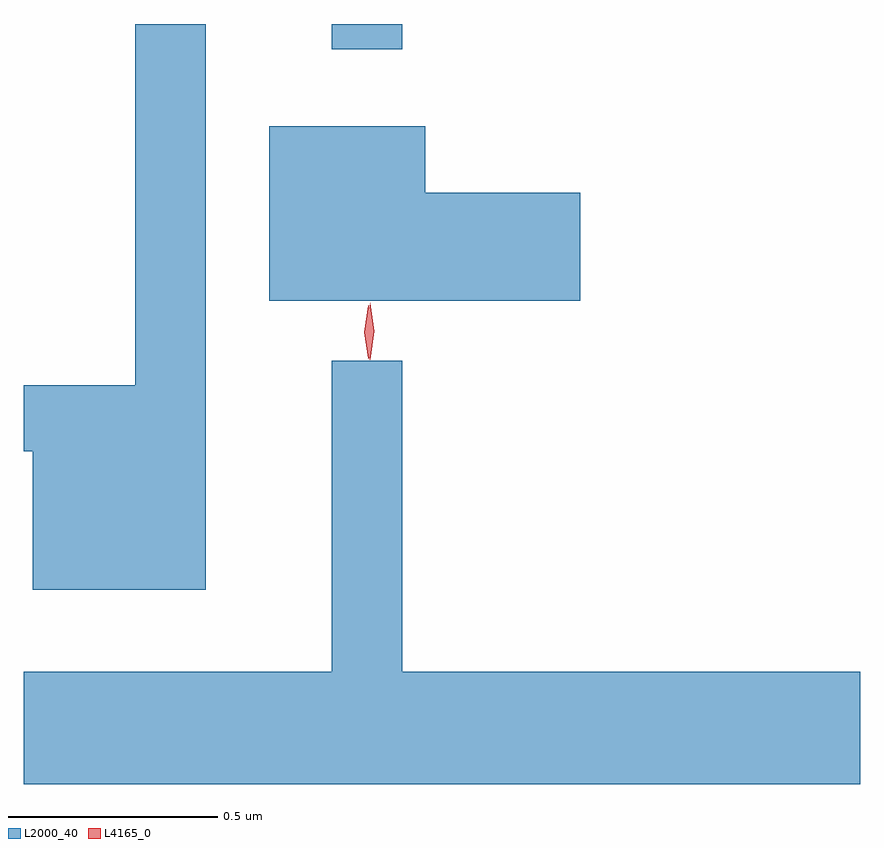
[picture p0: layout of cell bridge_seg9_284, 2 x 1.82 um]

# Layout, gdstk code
import gdstk
lib = gdstk.Library(unit=1e-6, precision=1e-09)
def R(c, l, rs):  # rectangles x0, y0, x1, y1
    for r in rs: c.add(gdstk.rectangle(r[:2], r[2:], *l))
def P(c, l, *ps):  # polygons
    for p in ps: c.add(gdstk.Polygon(p, *l))
L2000_40 = (2000, 40)
L4165_0 = (4165, 0)

bridge_seg9_284 = lib.new_cell('bridge_seg9_284')
R(bridge_seg9_284, L2000_40, [(972.661,2044.633,972.829,2044.693)])
P(bridge_seg9_284, L2000_40, [(972.359,2044.693),(972.191,2044.693),(972.191,2043.829),(971.924,2043.829),(971.924,2043.671),(971.946,2043.671),(971.946,2043.341),(972.359,2043.341)],
  [(973.254,2044.289),(972.884,2044.289),(972.884,2044.449),(972.511,2044.449),(972.511,2044.031),(973.254,2044.031)],
  [(973.924,2043.144),(972.829,2043.144),(972.829,2043.888),(972.661,2043.888),(972.661,2043.144),(971.924,2043.144),(971.924,2042.876),(973.924,2042.876)])
P(bridge_seg9_284, L4165_0, [(972.751,2043.89),(972.751,2043.89),(972.742,2043.958),(972.752,2044.025),(972.753,2044.026),(972.753,2044.025),(972.762,2043.958),(972.752,2043.89)],
  [(972.748,2043.893),(972.748,2043.894),(972.738,2043.956),(972.748,2044.019),(972.748,2044.02),(972.749,2044.019),(972.758,2043.956),(972.749,2043.894)])

lib.write_gds('bridge_seg9_284.gds')
